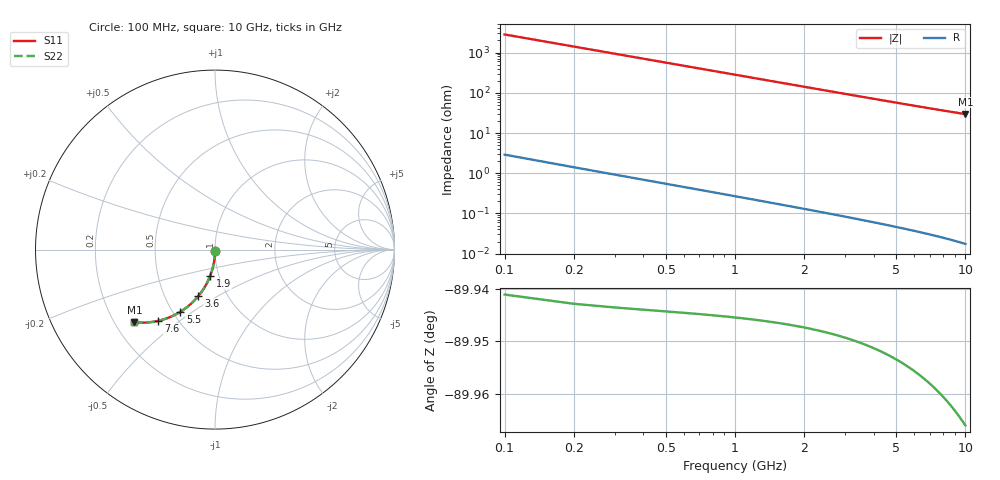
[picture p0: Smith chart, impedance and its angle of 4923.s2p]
# Hz S RI R 50.00
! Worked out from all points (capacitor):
!   100 points, 100 MHz to 10 GHz, reference 50 ohm
!   read as one part in shunt: C = 565 fF near 100 MHz
!   lowest |Z| = 29.5 ohm at 10 GHz (marker M1)
!   S11 on the Smith chart (normalised r, x): 100 MHz: 1.00, -0.02; 1.9 GHz: 0.91, -0.27; 3.6 GHz: 0.73, -0.41; 5.5 GHz: 0.55, -0.45; 7.6 GHz: 0.39, -0.42; 10 GHz: 0.28, -0.36
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1e8  0.000374 -0.00797  0.9995 -0.00978  0.9995 -0.00978  0.000374 -0.00797
2e8  0.000134 -0.0159  0.9992 -0.0196  0.9992 -0.0196  0.000134 -0.0159
3e8  -0.000261 -0.0239  0.9988 -0.0293  0.9988 -0.0293  -0.000261 -0.0239
4e8  -0.000813 -0.0318  0.9982 -0.0391  0.9982 -0.0391  -0.000813 -0.0318
5e8  -0.00152 -0.0398  0.9975 -0.0488  0.9975 -0.0488  -0.00152 -0.0398
6e8  -0.00238 -0.0477  0.9966 -0.0585  0.9966 -0.0585  -0.00238 -0.0477
8e8  -0.00456 -0.0634  0.9944 -0.0779  0.9944 -0.0779  -0.00456 -0.0634
1.1e9  -0.00897 -0.0868  0.9899 -0.1067  0.9899 -0.1067  -0.00897 -0.0868
1.4e9  -0.0147 -0.1098  0.984 -0.1351  0.984 -0.1351  -0.0147 -0.1098
1.8e9  -0.0244 -0.1397  0.9741 -0.1723  0.9741 -0.1723  -0.0244 -0.1397
1.9e9  -0.0271 -0.147  0.9713 -0.1814  0.9713 -0.1814  -0.0271 -0.147
2.2e9  -0.0362 -0.1685  0.9621 -0.2084  0.9621 -0.2084  -0.0362 -0.1685
2.6e9  -0.05 -0.196  0.9479 -0.2432  0.9479 -0.2432  -0.05 -0.196
3.4e9  -0.083 -0.2467  0.9141 -0.3084  0.9141 -0.3084  -0.083 -0.2467
3.6e9  -0.0922 -0.2583  0.9046 -0.3238  0.9046 -0.3238  -0.0922 -0.2583
4.3e9  -0.127 -0.2956  0.8689 -0.3739  0.8689 -0.3739  -0.127 -0.2956
5.1e9  -0.1706 -0.3314  0.8241 -0.4244  0.8241 -0.4244  -0.1706 -0.3314
5.5e9  -0.1933 -0.3465  0.8006 -0.447  0.8006 -0.447  -0.1933 -0.3465
6.7e9  -0.2637 -0.381  0.7276 -0.5038  0.7276 -0.5038  -0.2637 -0.381
7.6e9  -0.3167 -0.3969  0.6724 -0.5366  0.6724 -0.5366  -0.3167 -0.3969
8.4e9  -0.3627 -0.4046  0.6241 -0.5596  0.6241 -0.5596  -0.3627 -0.4046
1e10  -0.4491 -0.4047  0.5324 -0.5906  0.5324 -0.5906  -0.4491 -0.4047
